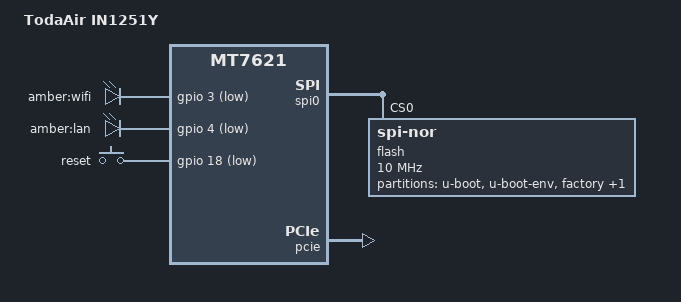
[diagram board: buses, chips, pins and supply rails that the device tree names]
#include "mt7621.dtsi"

#include <dt-bindings/gpio/gpio.h>
#include <dt-bindings/input/input.h>

/ {
	compatible = "todaair,in1251y", "mediatek,mt7621-soc";
	model = "TodaAir IN1251Y";

	aliases {
		led-boot = &led_wifi_amber;
		label-mac-device = &gmac0;
	};

	chosen {
		bootargs = "console=ttyS0,115200";
	};

	leds {
		compatible = "gpio-leds";

		led_wifi_amber: wifi-amber {
			label = "amber:wifi";
			gpios = <&gpio 3 GPIO_ACTIVE_LOW>;
		};

		led_lan_amber: lan-amber {
			label = "amber:lan";
			gpios = <&gpio 4 GPIO_ACTIVE_LOW>;
		};
	};

	keys {
		compatible = "gpio-keys";

		reset {
			label = "reset";
			gpios = <&gpio 18 GPIO_ACTIVE_LOW>;
			linux,code = <KEY_RESTART>;
		};
	};
};

&spi0 {
	status = "okay";

	flash@0 {
		compatible = "jedec,spi-nor";
		reg = <0>;
		spi-max-frequency = <10000000>;

		partitions {
			compatible = "fixed-partitions";
			#address-cells = <1>;
			#size-cells = <1>;

			partition@0 {
				label = "u-boot";
				reg = <0x0 0x30000>;
			};

			partition@30000 {
				label = "u-boot-env";
				reg = <0x30000 0x10000>;
			};

			factory: partition@40000 {
				label = "factory";
				reg = <0x40000 0x10000>;
			};

			partition@50000 {
				compatible = "denx,uimage";
				label = "firmware";
				reg = <0x50000 0xfb0000>;
			};
		};
	};
};

&pcie {
	status = "okay";
};

&pcie0 {
	mt76@0,0 {
		reg = <0x0000 0 0 0 0>;
		mediatek,mtd-eeprom = <&factory 0x0000>;
	};
};

&pcie1 {
	mt76@0,0 {
		reg = <0x0000 0 0 0 0>;
		mediatek,mtd-eeprom = <&factory 0x8000>;
		ieee80211-freq-limit = <5000000 6000000>;
	};
};

&gmac0 {
	nvmem-cells = <&macaddr_factory_4>;
	nvmem-cell-names = "mac-address";
};

&switch0 {
	ports {
		port@0 {
			status = "okay";
			label = "wan";
			nvmem-cells = <&macaddr_factory_4>;
			nvmem-cell-names = "mac-address";
		};

		port@4 {
			status = "okay";
			label = "lan1";
		};
	};
};

&state_default {
	gpio {
		groups = "i2c", "jtag", "uart2", "uart3";
		function = "gpio";
	};
};


&factory {
	compatible = "nvmem-cells";
	#address-cells = <1>;
	#size-cells = <1>;

	macaddr_factory_4: macaddr@4 {
		reg = <0x4 0x6>;
	};
};
